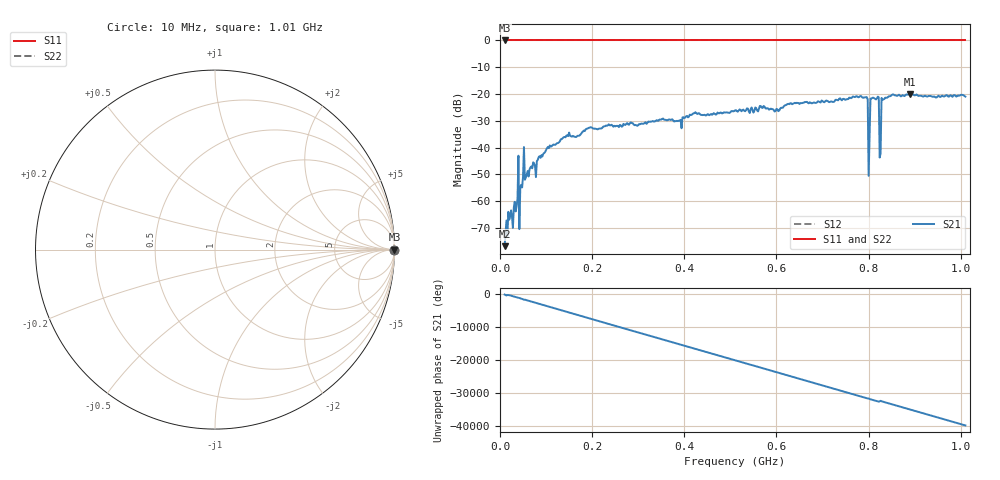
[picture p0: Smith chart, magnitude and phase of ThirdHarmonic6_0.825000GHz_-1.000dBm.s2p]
! 8/16/2025 3:25:03 AM
! C:\ANRITSUVNA\TEMP\TEMP.S2P
! CHANNEL.1
! TR.MEASUREMENT
! RAW.DATA
! RF.CORRECTION.OFF
! AVERAGING.OFF
! IF.BANDWIDTH: 5KHZ
! SWEEPTYPE:  FREQ.SWEEP(Linear)
! Reference Plane Port Info
! PORT:  PORT1  PORT2
! DISTANCE:  0  m  0  m
! TIME:  0  s  0  s
! PHASE.OFFSET:  0  deg.  0  deg.
! LOSS:  0  dB  0  dB
! REF.LOSS:  0  dB  0  dB
! REF.FREQ:  0  Hz  0  Hz
! Power Info
! POWER:  -20  dBm  -20  dBm
! EFF.POWER:  -20  dBm  -20  dBm
! SOURCE.ATTEN:  0  dB  0  dB
! TEST.ATTEN:  0  dB  0  dB
# GHZ S RI R 50.0
! FREQ.GHZ  S11RE  S11IM  S21RE  S21IM  S12RE  S12IM  S22RE  S22IM
!; PortSelection: Port_12
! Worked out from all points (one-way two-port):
!   501 points, 10 MHz to 1.01 GHz, reference 50 ohm
!   highest |S21| = -20.01 dB at 890 MHz (marker M1); lowest = -76.8 dB at 10 MHz (marker M2)
!   lowest |S11| = 0.0 dB at 10 MHz (marker M3)
!   |S11| at or under -10 dB: nowhere
!   |S22| runs from 0.0 to 0.0 dB; largest |S21 - S12| = 1.1
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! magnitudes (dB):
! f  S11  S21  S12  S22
! 10 MHz  0.0  -76.8  0.0  0.0
! 22 MHz  0.0  -65.8  0.0  0.0
! 32 MHz  0.0  -60.2  0.0  0.0
! 36 MHz  0.0  -62.0  0.0  0.0
! 46 MHz  0.0  -53.9  0.0  0.0
! 48 MHz  0.0  -54.9  0.0  0.0
! 54 MHz  0.0  -52.0  0.0  0.0
! 178 MHz  0.0  -34.3  0.0  0.0
! 344 MHz  0.0  -30.0  0.0  0.0
! 510 MHz  0.0  -26.2  0.0  0.0
! 678 MHz  0.0  -23.4  0.0  0.0
! 794 MHz  0.0  -21.2  0.0  0.0
! 798 MHz  0.0  -22.0  0.0  0.0
! 802 MHz  0.0  -36.5  0.0  0.0
! 808 MHz  0.0  -21.5  0.0  0.0
! 818 MHz  0.0  -21.6  0.0  0.0
! 822 MHz  0.0  -21.2  0.0  0.0
! 828 MHz  0.0  -21.5  0.0  0.0
! 832 MHz  0.0  -22.0  0.0  0.0
! 844 MHz  0.0  -20.9  0.0  0.0
! 890 MHz  0.0  -20.0  0.0  0.0
! 1.01 GHz  0.0  -21.0  0.0  0.0
